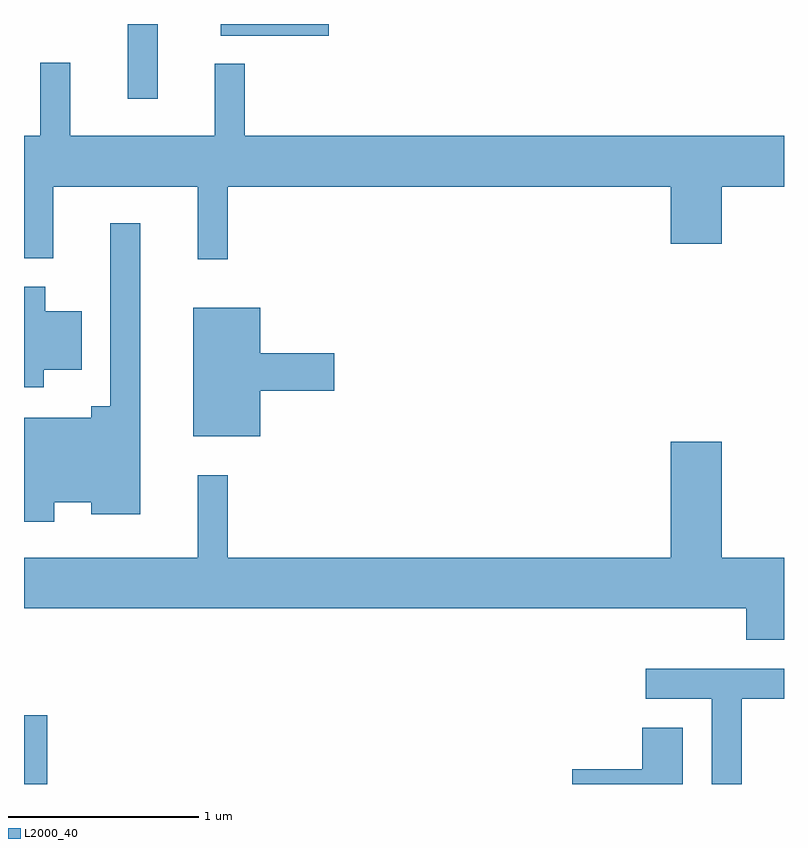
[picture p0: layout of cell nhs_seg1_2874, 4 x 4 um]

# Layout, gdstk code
import gdstk
lib = gdstk.Library(unit=1e-6, precision=1e-09)
def R(c, l, rs):  # rectangles x0, y0, x1, y1
    for r in rs: c.add(gdstk.rectangle(r[:2], r[2:], *l))
def P(c, l, *ps):  # polygons
    for p in ps: c.add(gdstk.Polygon(p, *l))
L2000_40 = (2000, 40)

nhs_seg1_2874 = lib.new_cell('nhs_seg1_2874')
R(nhs_seg1_2874, L2000_40, [(271.611,949.712,271.734,950.074), (272.156,953.318,272.314,953.712), (272.646,953.651,273.214,953.712)])
P(nhs_seg1_2874, L2000_40, [(272.684,952.856),(275.016,952.856),(275.016,952.556),(275.284,952.556),(275.284,952.856),(275.611,952.856),(275.611,953.124),(272.774,953.124),(272.774,953.503),(272.616,953.503),(272.616,953.124),(271.854,953.124),(271.854,953.508),(271.696,953.508),(271.696,953.124),(271.611,953.124),(271.611,952.478),(271.764,952.478),(271.764,952.856),(272.526,952.856),(272.526,952.473),(272.684,952.473)],
  [(271.769,951.196),(271.966,951.196),(271.966,951.131),(272.224,951.131),(272.224,952.663),(272.066,952.663),(272.066,951.699),(271.966,951.699),(271.966,951.639),(271.611,951.639),(271.611,951.093),(271.769,951.093)],
  [(271.714,951.891),(271.914,951.891),(271.914,952.199),(271.724,952.199),(271.724,952.329),(271.611,952.329),(271.611,951.801),(271.714,951.801)],
  [(272.854,951.781),(273.244,951.781),(273.244,951.979),(272.854,951.979),(272.854,952.219),(272.501,952.219),(272.501,951.541),(272.854,951.541)],
  [(275.611,950.904),(275.284,950.904),(275.284,951.514),(275.016,951.514),(275.016,950.904),(272.684,950.904),(272.684,951.338),(272.526,951.338),(272.526,950.904),(271.611,950.904),(271.611,950.636),(275.411,950.636),(275.411,950.471),(275.611,950.471)],
  [(275.389,950.161),(275.611,950.161),(275.611,950.319),(274.883,950.319),(274.883,950.161),(275.231,950.161),(275.231,949.712),(275.389,949.712)],
  [(275.079,950.009),(274.866,950.009),(274.866,949.789),(274.496,949.789),(274.496,949.712),(275.079,949.712)])

lib.write_gds('nhs_seg1_2874.gds')
